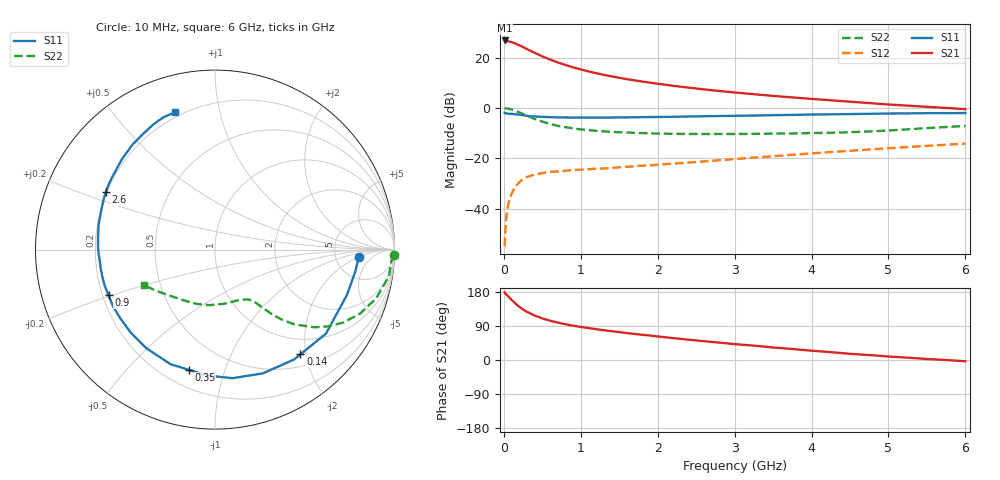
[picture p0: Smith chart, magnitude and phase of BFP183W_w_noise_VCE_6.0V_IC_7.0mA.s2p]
! Infineon Technologies  Discrete & RF Semiconductors
! BFP183W
! VCE =  6.0 V,  IC =  7.0 mA
! Common Emitter S-Parameters:  Jan 2017
# GHz  S  MA  R  50
!  f  S11  S21  S12  S22
! GHz  MAG  ANG  MAG  ANG  MAG  ANG  MAG  ANG
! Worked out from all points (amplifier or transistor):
!   77 points, 10 MHz to 6 GHz, reference 50 ohm
!   highest |S21| = 26.9 dB at 10 MHz (marker M1)
!   |S21| within 3 dB of that: start of sweep to 273.4 MHz
!   unconditionally stable (mu >= 1): 1.922 GHz to 3.982 GHz
!   at 130 MHz: K = 0.11, MSG = 29.1 dB, |S12| = -32.3 dB
!   at 2.2 GHz: K = 1.04, MAG = 14.2 dB, |S12| = -22.1 dB
!   at 6 GHz: K = 0.84, MSG = 6.9 dB, |S12| = -14.1 dB
!   lowest NFmin = 0.82 dB at 450 MHz
!   S11 on the Smith chart (normalised r, x): 10 MHz: 8.63, -2.03; 140 MHz: 0.70, -1.90; 350 MHz: 0.30, -0.76; 900 MHz: 0.22, -0.20; 2.6 GHz: 0.20, +0.24; 6 GHz: 0.18, +0.73
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0.01  0.8022 -3.0  22.06 178.6  0.0018 93.3  0.9966 -1.8
0.02  0.7913 -8.9  21.97 175.5  0.0038 89.8  0.985 -3.5
0.03  0.784 -12.2  21.76 173.4  0.0061 83.5  0.9826 -5.2
0.1  0.7755 -37.1  20.51 158.6  0.0196 73.5  0.939 -16.7
0.14  0.753 -50.8  19.43 151.1  0.026 65.7  0.8934 -22.3
0.2  0.7391 -68.9  17.74 140.6  0.0335 58.5  0.8223 -29.6
0.25  0.7233 -82.2  16.3 133.1  0.0389 52.7  0.7599 -34.3
0.3  0.7027 -93.6  14.88 127.0  0.0425 47.3  0.7014 -38.1
0.35  0.6854 -102.3  13.66 122.5  0.0451 44.4  0.6536 -40.5
0.4  0.6847 -111.3  12.55 117.2  0.0478 41.8  0.6072 -43.3
0.5  0.6695 -124.9  10.66 109.8  0.0511 37.7  0.5368 -46.4
0.6  0.659 -135.4  9.228 103.7  0.0539 35.7  0.484 -48.5
0.7  0.652 -143.9  8.073 98.8  0.0551 34.4  0.4446 -49.7
0.9  0.6453 -156.8  6.448 90.6  0.0587 33.4  0.395 -51.6
1.1  0.6456 -166.3  5.363 84.3  0.0608 34.1  0.3643 -53.0
1.5  0.6517 179.2  3.993 73.6  0.0664 36.4  0.3306 -57.1
2.1  0.6673 163.0  2.904 60.0  0.0767 41.1  0.3098 -66.2
2.6  0.6879 152.2  2.351 49.7  0.087 44.1  0.3052 -76.4
3.1  0.7044 142.7  1.978 40.3  0.0996 45.9  0.3058 -87.2
4.1  0.7462 126.8  1.483 23.0  0.1287 46.5  0.32 -110.8
5.1  0.7806 114.9  1.153 8.0  0.1624 44.0  0.3656 -136.5
6  0.7969 106.4  0.953 -3.3  0.1966 39.6  0.4417 -153.2
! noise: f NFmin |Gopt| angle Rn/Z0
0.45  0.82  0.16  68  0.11
0.9  0.91  0.21  112  0.1
1.9  1.45  0.39  172  0.07
2.4  1.71  0.45  -173  0.09
